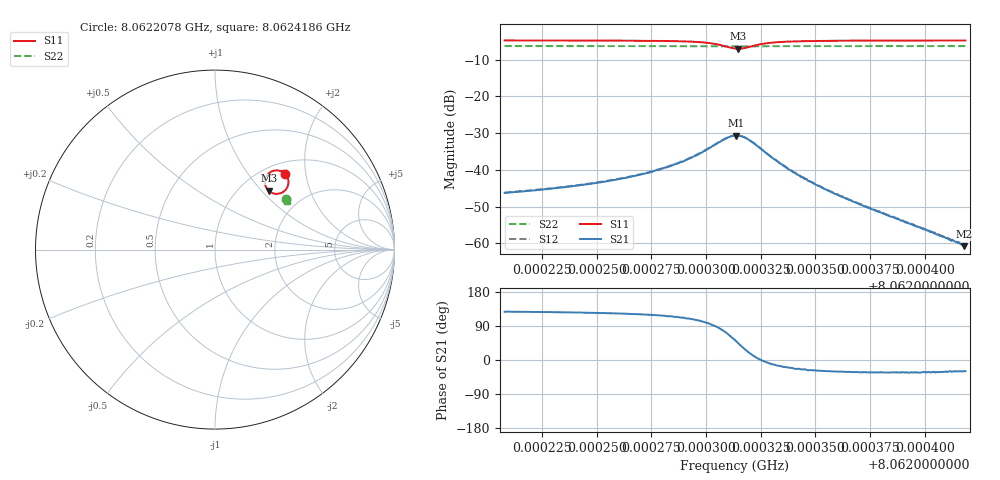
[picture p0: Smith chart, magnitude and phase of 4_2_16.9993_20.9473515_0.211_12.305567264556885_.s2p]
#  HZ  S  RI  R  50.00
! Rohde & Schwarz Vector Network Analyzer
! Rohde-Schwarz,ZNB20-2Port,1311601062101988,3.16
! Created: UTC 3/20/2024, 10:52:12 PM
! freq[Hz]  re:S11  im:S11  re:S21  im:S21  re:S12  im:S12  re:S22  im:S22
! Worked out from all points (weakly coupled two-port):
!   401 points, 8.0622078 GHz to 8.0624186 GHz, reference 50 ohm
!   highest |S21| = -30.66 dB at 8.0623137 GHz (marker M1); lowest = -60.7 dB at 8.062418 GHz (marker M2)
!   lowest |S11| = -7.1 dB at 8.0623148 GHz (marker M3), VSWR 2.60, Z = 67.1 + j54.8 ohm
!   |S11| at or under -10 dB: nowhere
!   |S22| runs from -6.4 to -6.3 dB; largest |S21 - S12| = 0.0019
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8.06220783e9  0.3907 0.4221  -0.00295 0.00387  -0.00279 0.00405  0.3933 0.2793
8.06224312e9  0.3964 0.4151  -0.0036 0.0051  -0.00335 0.00538  0.3944 0.2773
8.06226315e9  0.4011 0.4077  -0.00413 0.00661  -0.00378 0.00694  0.3953 0.276
8.06227842e9  0.4057 0.397  -0.00469 0.00887  -0.00431 0.00932  0.3956 0.2748
8.06228475e9  0.4078 0.3895  -0.0048 0.0105  -0.00421 0.0109  0.3957 0.2741
8.06229107e9  0.4091 0.3785  -0.00469 0.013  -0.00393 0.0133  0.3959 0.2732
8.06229686e9  0.4078 0.3631  -0.00393 0.0162  -0.00298 0.0166  0.3958 0.2724
8.06230213e9  0.4002 0.3427  -0.00157 0.0203  -0.000334 0.0205  0.3952 0.2714
8.06230898e9  0.3613 0.3129  0.00774 0.0254  0.00958 0.0252  0.3933 0.2704
8.0623132e9  0.3154 0.3168  0.0177 0.023  0.0194 0.0223  0.3916 0.2711
8.06231372e9  0.3097 0.3198  0.019 0.0223  0.0205 0.0213  0.3914 0.2712
8.06231478e9  0.2994 0.3276  0.0211 0.0203  0.0225 0.0191  0.391 0.2717
8.06231899e9  0.2781 0.372  0.0244 0.00993  0.0251 0.00852  0.391 0.2738
8.06232689e9  0.3022 0.4268  0.0175 -0.00138  0.0175 -0.00232  0.3931 0.2755
8.06233743e9  0.3358 0.4411  0.0097 -0.00354  0.0096 -0.00412  0.3951 0.2749
8.0623427e9  0.3459 0.4416  0.00772 -0.00335  0.0075 -0.00386  0.3956 0.2746
8.06234849e9  0.3537 0.4406  0.00604 -0.00308  0.0058 -0.00344  0.3961 0.2741
8.06236061e9  0.3644 0.4382  0.00386 -0.0023  0.00378 -0.00254  0.397 0.2733
8.06238379e9  0.3748 0.4338  0.00199 -0.0013  0.00196 -0.00143  0.3981 0.2719
8.06240276e9  0.3795 0.4311  0.00121 -0.000769  0.00119 -0.000832  0.3987 0.2709
8.06241804e9  0.3825 0.4292  0.000805 -0.000445  0.000824 -0.000501  0.3993 0.2701
8.06241857e9  0.3825 0.4289  0.000809 -0.000461  0.000806 -0.000509  0.3994 0.2699
